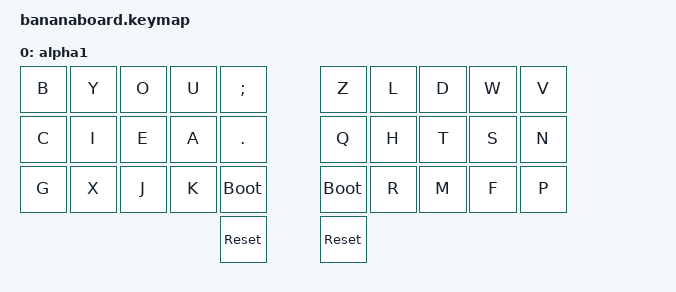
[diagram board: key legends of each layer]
#include <behaviors.dtsi>
#include <dt-bindings/zmk/keys.h>
#include <dt-bindings/zmk/bt.h>
#include <dt-bindings/zmk/mouse.h>

#define ENG 0

/ {
    keymap {
        compatible = "zmk,keymap";

        alpha1 {
            bindings = <
            &kp B  &kp Y  &kp O  &kp U  &kp SEMI    &kp Z  &kp L  &kp D  &kp W  &kp V
            &kp C  &kp I  &kp E  &kp A  &kp DOT    &kp Q  &kp H  &kp T  &kp S  &kp N
            &kp G  &kp X  &kp J  &kp K  &bootloader    &bootloader  &kp R  &kp M  &kp F  &kp P
            &sys_reset &sys_reset
            >;
        };
};


